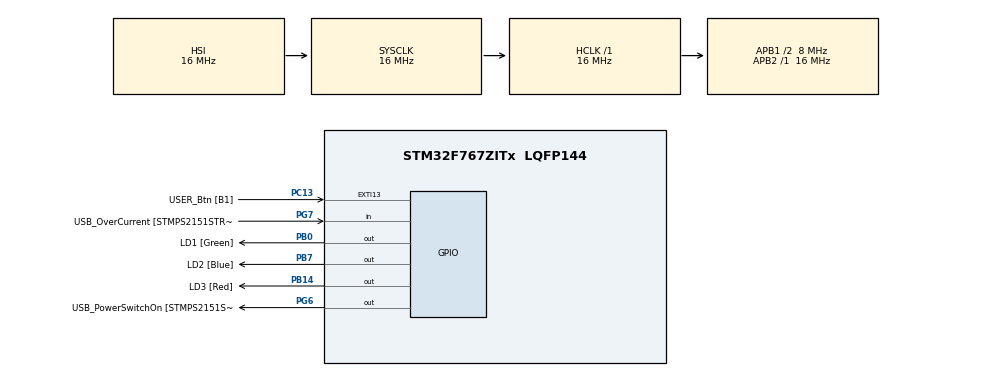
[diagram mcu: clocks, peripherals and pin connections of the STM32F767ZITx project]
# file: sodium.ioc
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Mcu.Family=STM32F7
Mcu.Name=STM32F767ZITx
Mcu.Package=LQFP144
NVIC.PriorityGroup=NVIC_PRIORITYGROUP_4
PA1.GPIO_Label=RMII_REF_CLK [LAN8742A-CZ-TR_REFCLK0]
PA1.Signal=ETH_REF_CLK
PA10.GPIO_Label=USB_ID
PA10.Signal=USB_OTG_FS_ID
PA11.GPIO_Label=USB_DM
PA11.Signal=USB_OTG_FS_DM
PA12.GPIO_Label=USB_DP
PA12.Signal=USB_OTG_FS_DP
PA13.GPIO_Label=TMS
PA13.Signal=SYS_JTMS-SWDIO
PA14.GPIO_Label=TCK
PA14.Signal=SYS_JTCK-SWCLK
PA2.GPIO_Label=RMII_MDIO [LAN8742A-CZ-TR_MDIO]
PA2.Signal=ETH_MDIO
PA7.GPIO_Label=RMII_CRS_DV [LAN8742A-CZ-TR_CRS_DV]
PA7.Signal=ETH_CRS_DV
PA8.GPIO_Label=USB_SOF [TP1]
PA8.Signal=USB_OTG_FS_SOF
PA9.GPIO_Label=USB_VBUS
PA9.Signal=USB_OTG_FS_VBUS
PB0.GPIO_Label=LD1 [Green]
PB0.Signal=GPIO_Output
PB13.GPIO_Label=RMII_TXD1 [LAN8742A-CZ-TR_TXD1]
PB13.Signal=ETH_TXD1
PB14.GPIO_Label=LD3 [Red]
PB14.Signal=GPIO_Output
PB3.GPIO_Label=SW0
PB3.Signal=SYS_JTDO-SWO
PB7.GPIO_Label=LD2 [Blue]
PB7.Signal=GPIO_Output
PC1.GPIO_Label=RMII_MDC [LAN8742A-CZ-TR_MDC]
PC1.Signal=ETH_MDC
PC13.GPIO_Label=USER_Btn [B1]
PC13.Signal=GPXTI13
PC14/OSC32_IN.Signal=RCC_OSC32_IN
PC15/OSC32_OUT.Signal=RCC_OSC32_OUT
PC4.GPIO_Label=RMII_RXD0 [LAN8742A-CZ-TR_RXD0]
PC4.Signal=ETH_RXD0
PC5.GPIO_Label=RMII_RXD1 [LAN8742A-CZ-TR_RXD1]
PC5.Signal=ETH_RXD1
PD8.GPIO_Label=STLK_RX [STM32F103CBT6_PA3]
PD8.Signal=USART3_TX
PD9.GPIO_Label=STLK_TX [STM32F103CBT6_PA2]
PD9.Signal=USART3_RX
PG11.GPIO_Label=RMII_TX_EN [LAN8742A-CZ-TR_TXEN]
PG11.Signal=ETH_TX_EN
PG13.GPIO_Label=RMII_TXD0 [LAN8742A-CZ-TR_TXD0]
PG13.Signal=ETH_TXD0
PG6.GPIO_Label=USB_PowerSwitchOn [STMPS2151STR_EN]
PG6.Signal=GPIO_Output
PG7.GPIO_Label=USB_OverCurrent [STMPS2151STR_FAULT]
PG7.Signal=GPIO_Input
PH0/OSC_IN.GPIO_Label=MCO [STM32F103CBT6_PA8]
PH0/OSC_IN.Signal=RCC_OSC_IN
PH1/OSC_OUT.Signal=RCC_OSC_OUT
ProjectManager.HeapSize=0x200
ProjectManager.StackSize=0x400
ProjectManager.TargetToolchain=STM32CubeIDE
RCC.48MHZClocksFreq_Value=24000000
RCC.AHBFreq_Value=16000000
RCC.APB1CLKDivider=RCC_HCLK_DIV2
RCC.APB1Freq_Value=8000000
RCC.APB1TimFreq_Value=16000000
RCC.APB2Freq_Value=16000000
RCC.APB2TimFreq_Value=16000000
RCC.CortexFreq_Value=16000000
RCC.HCLKFreq_Value=16000000
RCC.HSE_VALUE=16000000
RCC.HSI_VALUE=16000000
RCC.LSE_VALUE=32768
RCC.PLLMUL=RCC_PLL_MUL9
RCC.PRESCALERUSB=RCC_USBCLKSOURCE_PLL_DIV1_5
RCC.SYSCLKFreq_VALUE=16000000
RCC.SYSCLKSourceVirtual=RCC_SYSCLKSOURCE_PLLCLK
RCC.USBFreq_Value=96000000
RCC.VCOOutputFreq_Value=192000000
board=NUCLEO-F767ZI

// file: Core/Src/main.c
/* USER CODE BEGIN Header */
/**
  ******************************************************************************
  * @file           : main.c
  * @brief          : Main program body
  ******************************************************************************
  * @attention
  *
  * Copyright (c) 2025 STMicroelectronics.
  * All rights reserved.
  *
  * This software is licensed under terms that can be found in the LICENSE file
  * in the root directory of this software component.
  * If no LICENSE file comes with this software, it is provided AS-IS.
  *
  ******************************************************************************
  */
/* USER CODE END Header */
#include "main.h"

/* USER CODE BEGIN Includes */
#include "sodium.h"
#include <strings.h>
#include "string.h"
#include "memory.h"
/* USER CODE END Includes */

/* USER CODE BEGIN PV */
randombytes_implementation blank_impl;
/* USER CODE END PV */

void SystemClock_Config(void);
static void MX_GPIO_Init(void);
/* USER CODE BEGIN PFP */
uint32_t blank_random() {
	return 0;
}

void blank_buf(void * const buf, const size_t size) {
	memset(buf, 0, size);
}
/* USER CODE END PFP */

/* USER CODE BEGIN 0 */
#include "sodium.h"
/* USER CODE END 0 */

int main(void)
{

  /* MCU Configuration--------------------------------------------------------*/

  /* Reset of all peripherals, Initializes the Flash interface and the Systick. */
  HAL_Init();

  /* USER CODE BEGIN Init */
  randombytes_implementation blank = {
		  .implementation_name = "blank",
		  .random = blank_random,
		  .buf = blank_buf,
  };

  randombytes_set_implementation(&blank);

  sodium_init();
  /* USER CODE END Init */

  /* Configure the system clock */
  SystemClock_Config();

  /* Initialize all configured peripherals */
  MX_GPIO_Init();
  /* USER CODE BEGIN 2 */

  uint8_t hash_me[10] = "0123456789";
  uint8_t hash[32] = {0};

  crypto_hash_sha256(hash, hash_me, 10);

  uint8_t pk[] = {
		    0x0e, 0x45, 0x8b, 0x35, 0xfb, 0x06, 0xe6, 0x9e,
		    0xfa, 0x97, 0x07, 0x61, 0x13, 0x16, 0x0c, 0xc3,
		    0x33, 0x5e, 0x4c, 0x06, 0xc0, 0x09, 0x3b, 0xb9,
		    0x12, 0x78, 0xdf, 0x0e, 0x5b, 0x81, 0x9b, 0x84
  };

  uint8_t sig[] = {
		  0xe4, 0x9a, 0x9f, 0x5f, 0x11, 0x32, 0x0d, 0xae,
		  0x8a, 0xb1, 0x80, 0x1f, 0xde, 0xa0, 0x1f, 0xe3,
		  0x6f, 0x0d, 0x63, 0x75, 0xcd, 0x3a, 0x6c, 0xe9,
		  0xd7, 0xad, 0xcf, 0x52, 0x70, 0xdb, 0xf7, 0x8c,
		  0x98, 0x05, 0xb0, 0x86, 0x3d, 0x50, 0xd0, 0x5e,
		  0xba, 0xb4, 0x0e, 0x63, 0xf9, 0x25, 0x27, 0x94,
		  0xdd, 0xf1, 0x90, 0xfc, 0x81, 0x3b, 0xab, 0xa6,
		  0xf0, 0xdf, 0xf2, 0x29, 0x71, 0x21, 0x2a, 0x02
		};

  uint32_t ret = crypto_sign_ed25519_verify_detached(sig, hash, 32, pk);

  /* USER CODE END 2 */

  /* Infinite loop */
  while (1)
  {

  }
}

void SystemClock_Config(void)
{
  RCC_OscInitTypeDef RCC_OscInitStruct = {0};
  RCC_ClkInitTypeDef RCC_ClkInitStruct = {0};

  /** Configure the main internal regulator output voltage
  */
  __HAL_RCC_PWR_CLK_ENABLE();
  __HAL_PWR_VOLTAGESCALING_CONFIG(PWR_REGULATOR_VOLTAGE_SCALE3);

  /** Initializes the RCC Oscillators according to the specified parameters
  * in the RCC_OscInitTypeDef structure.
  */
  RCC_OscInitStruct.OscillatorType = RCC_OSCILLATORTYPE_HSI;
  RCC_OscInitStruct.HSIState = RCC_HSI_ON;
  RCC_OscInitStruct.HSICalibrationValue = RCC_HSICALIBRATION_DEFAULT;
  RCC_OscInitStruct.PLL.PLLState = RCC_PLL_NONE;
  if (HAL_RCC_OscConfig(&RCC_OscInitStruct) != HAL_OK)
  {
    Error_Handler();
  }

  /** Initializes the CPU, AHB and APB buses clocks
  */
  RCC_ClkInitStruct.ClockType = RCC_CLOCKTYPE_HCLK|RCC_CLOCKTYPE_SYSCLK
                              |RCC_CLOCKTYPE_PCLK1|RCC_CLOCKTYPE_PCLK2;
  RCC_ClkInitStruct.SYSCLKSource = RCC_SYSCLKSOURCE_HSI;
  RCC_ClkInitStruct.AHBCLKDivider = RCC_SYSCLK_DIV1;
  RCC_ClkInitStruct.APB1CLKDivider = RCC_HCLK_DIV2;
  RCC_ClkInitStruct.APB2CLKDivider = RCC_HCLK_DIV1;

  if (HAL_RCC_ClockConfig(&RCC_ClkInitStruct, FLASH_LATENCY_0) != HAL_OK)
  {
    Error_Handler();
  }
}

static void MX_GPIO_Init(void)
{
  GPIO_InitTypeDef GPIO_InitStruct = {0};

  /* GPIO Ports Clock Enable */
  __HAL_RCC_GPIOC_CLK_ENABLE();
  __HAL_RCC_GPIOH_CLK_ENABLE();
  __HAL_RCC_GPIOA_CLK_ENABLE();
  __HAL_RCC_GPIOB_CLK_ENABLE();
  __HAL_RCC_GPIOD_CLK_ENABLE();
  __HAL_RCC_GPIOG_CLK_ENABLE();

  /*Configure GPIO pin Output Level */
  HAL_GPIO_WritePin(GPIOB, LD1_Pin|LD3_Pin|LD2_Pin, GPIO_PIN_RESET);

  /*Configure GPIO pin Output Level */
  HAL_GPIO_WritePin(USB_PowerSwitchOn_GPIO_Port, USB_PowerSwitchOn_Pin, GPIO_PIN_RESET);

  /*Configure GPIO pin : USER_Btn_Pin */
  GPIO_InitStruct.Pin = USER_Btn_Pin;
  GPIO_InitStruct.Mode = GPIO_MODE_IT_RISING;
  GPIO_InitStruct.Pull = GPIO_NOPULL;
  HAL_GPIO_Init(USER_Btn_GPIO_Port, &GPIO_InitStruct);

  /*Configure GPIO pins : RMII_MDC_Pin RMII_RXD0_Pin RMII_RXD1_Pin */
  GPIO_InitStruct.Pin = RMII_MDC_Pin|RMII_RXD0_Pin|RMII_RXD1_Pin;
  GPIO_InitStruct.Mode = GPIO_MODE_AF_PP;
  GPIO_InitStruct.Pull = GPIO_NOPULL;
  GPIO_InitStruct.Speed = GPIO_SPEED_FREQ_VERY_HIGH;
  GPIO_InitStruct.Alternate = GPIO_AF11_ETH;
  HAL_GPIO_Init(GPIOC, &GPIO_InitStruct);

  /*Configure GPIO pins : RMII_REF_CLK_Pin RMII_MDIO_Pin RMII_CRS_DV_Pin */
  GPIO_InitStruct.Pin = RMII_REF_CLK_Pin|RMII_MDIO_Pin|RMII_CRS_DV_Pin;
  GPIO_InitStruct.Mode = GPIO_MODE_AF_PP;
  GPIO_InitStruct.Pull = GPIO_NOPULL;
  GPIO_InitStruct.Speed = GPIO_SPEED_FREQ_VERY_HIGH;
  GPIO_InitStruct.Alternate = GPIO_AF11_ETH;
  HAL_GPIO_Init(GPIOA, &GPIO_InitStruct);

  /*Configure GPIO pins : LD1_Pin LD3_Pin LD2_Pin */
  GPIO_InitStruct.Pin = LD1_Pin|LD3_Pin|LD2_Pin;
  GPIO_InitStruct.Mode = GPIO_MODE_OUTPUT_PP;
  GPIO_InitStruct.Pull = GPIO_NOPULL;
  GPIO_InitStruct.Speed = GPIO_SPEED_FREQ_LOW;
  HAL_GPIO_Init(GPIOB, &GPIO_InitStruct);

  /*Configure GPIO pin : RMII_TXD1_Pin */
  GPIO_InitStruct.Pin = RMII_TXD1_Pin;
  GPIO_InitStruct.Mode = GPIO_MODE_AF_PP;
  GPIO_InitStruct.Pull = GPIO_NOPULL;
  GPIO_InitStruct.Speed = GPIO_SPEED_FREQ_VERY_HIGH;
  GPIO_InitStruct.Alternate = GPIO_AF11_ETH;
  HAL_GPIO_Init(RMII_TXD1_GPIO_Port, &GPIO_InitStruct);

  /*Configure GPIO pins : STLK_RX_Pin STLK_TX_Pin */
  GPIO_InitStruct.Pin = STLK_RX_Pin|STLK_TX_Pin;
  GPIO_InitStruct.Mode = GPIO_MODE_AF_PP;
  GPIO_InitStruct.Pull = GPIO_NOPULL;
  GPIO_InitStruct.Speed = GPIO_SPEED_FREQ_VERY_HIGH;
  GPIO_InitStruct.Alternate = GPIO_AF7_USART3;
  HAL_GPIO_Init(GPIOD, &GPIO_InitStruct);

  /*Configure GPIO pin : USB_PowerSwitchOn_Pin */
  GPIO_InitStruct.Pin = USB_PowerSwitchOn_Pin;
  GPIO_InitStruct.Mode = GPIO_MODE_OUTPUT_PP;
  GPIO_InitStruct.Pull = GPIO_NOPULL;
  GPIO_InitStruct.Speed = GPIO_SPEED_FREQ_LOW;
  HAL_GPIO_Init(USB_PowerSwitchOn_GPIO_Port, &GPIO_InitStruct);

  /*Configure GPIO pin : USB_OverCurrent_Pin */
  GPIO_InitStruct.Pin = USB_OverCurrent_Pin;
  GPIO_InitStruct.Mode = GPIO_MODE_INPUT;
  GPIO_InitStruct.Pull = GPIO_NOPULL;
  HAL_GPIO_Init(USB_OverCurrent_GPIO_Port, &GPIO_InitStruct);

  /*Configure GPIO pins : USB_SOF_Pin USB_ID_Pin USB_DM_Pin USB_DP_Pin */
  GPIO_InitStruct.Pin = USB_SOF_Pin|USB_ID_Pin|USB_DM_Pin|USB_DP_Pin;
  GPIO_InitStruct.Mode = GPIO_MODE_AF_PP;
  GPIO_InitStruct.Pull = GPIO_NOPULL;
  GPIO_InitStruct.Speed = GPIO_SPEED_FREQ_VERY_HIGH;
  GPIO_InitStruct.Alternate = GPIO_AF10_OTG_FS;
  HAL_GPIO_Init(GPIOA, &GPIO_InitStruct);

  /*Configure GPIO pin : USB_VBUS_Pin */
  GPIO_InitStruct.Pin = USB_VBUS_Pin;
  GPIO_InitStruct.Mode = GPIO_MODE_INPUT;
  GPIO_InitStruct.Pull = GPIO_NOPULL;
  HAL_GPIO_Init(USB_VBUS_GPIO_Port, &GPIO_InitStruct);

  /*Configure GPIO pins : RMII_TX_EN_Pin RMII_TXD0_Pin */
  GPIO_InitStruct.Pin = RMII_TX_EN_Pin|RMII_TXD0_Pin;
  GPIO_InitStruct.Mode = GPIO_MODE_AF_PP;
  GPIO_InitStruct.Pull = GPIO_NOPULL;
  GPIO_InitStruct.Speed = GPIO_SPEED_FREQ_VERY_HIGH;
  GPIO_InitStruct.Alternate = GPIO_AF11_ETH;
  HAL_GPIO_Init(GPIOG, &GPIO_InitStruct);

}

void Error_Handler(void)
{
  __disable_irq();
  while (1)
  {
  }
}
